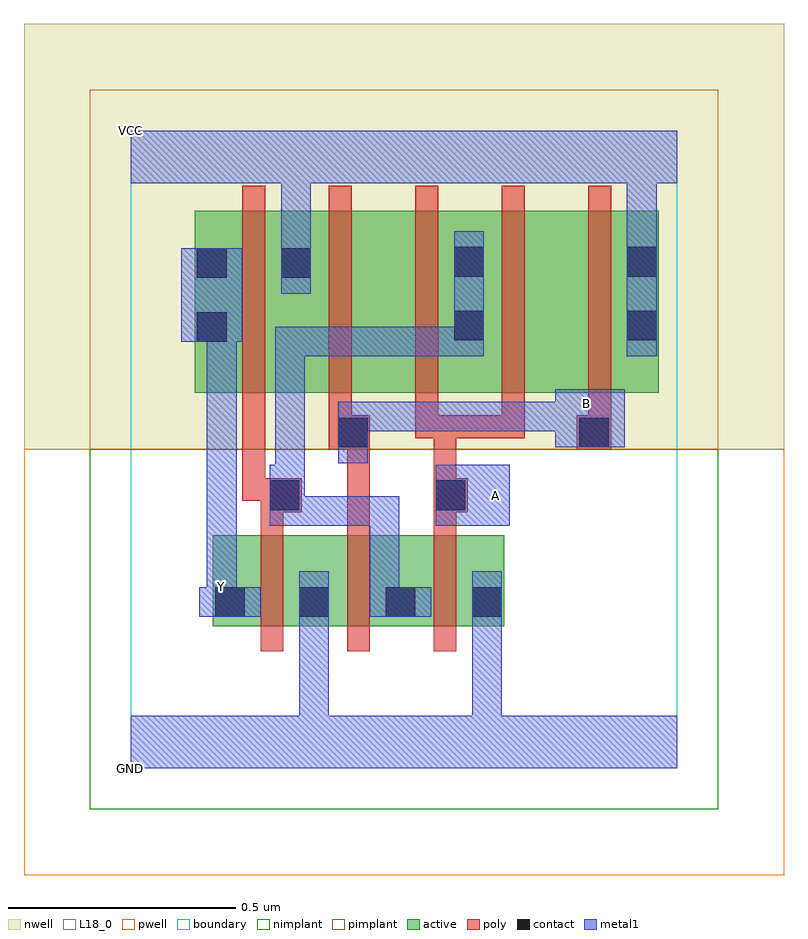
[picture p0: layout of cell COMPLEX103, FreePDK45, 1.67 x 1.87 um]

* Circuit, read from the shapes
.subckt COMPLEX103 A B GND VCC Y
M1 GND n1 Y VSUBS nfet w=0.2u l=0.05u
M2 n1 B GND VSUBS nfet w=0.2u l=0.05u
M3 GND A n1 VSUBS nfet w=0.2u l=0.05u
M4 VCC n1 Y n2 pfet w=0.4u l=0.05u
M5 n3 B VCC n2 pfet w=0.4u l=0.05u
M6 n1 A n3 n2 pfet w=0.4u l=0.05u
M7 n4 A n1 n2 pfet w=0.4u l=0.05u
M8 VCC B n4 n2 pfet w=0.4u l=0.05u
.ends

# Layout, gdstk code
import gdstk
lib = gdstk.Library(unit=1e-6, precision=1e-09)
def R(c, l, rs):  # rectangles x0, y0, x1, y1
    for r in rs: c.add(gdstk.rectangle(r[:2], r[2:], *l))
def A(c, l, x, y, w, h, nx, ny, dx, dy):  # array of equal rectangles
    R(c, l, [(x+i*dx, y+j*dy, x+i*dx+w, y+j*dy+h) for i in range(nx) for j in range(ny)])
active = (1, 0)
pwell = (2, 0)
nwell = (3, 0)
nimplant = (4, 0)
pimplant = (5, 0)
poly = (9, 0)
contact = (10, 0)
metal1 = (11, 0)
L18_0 = (18, 0)
boundary = (235, 0)

complex103 = lib.new_cell('COMPLEX103')
R(complex103, active, [(0.18,0.312,0.255,0.512), (0.18,0.312,0.44,0.512), (0.365,0.312,0.44,0.512), (0.365,0.312,0.63,0.512), (0.555,0.312,0.82,0.512), (0.555,0.312,0.63,0.402), (0.745,0.312,0.82,0.512), (0.14,0.825,0.215,1.155), (0.14,0.825,0.4,1.225), (0.325,0.825,0.555,1.225), (0.555,0.825,0.78,1.225), (0.705,0.825,0.78,1.155), (0.705,0.825,0.935,1.225), (0.935,0.825,1.16,1.225), (1.085,0.825,1.16,1.155), (0.325,0.907,0.4,1.155)])
R(complex103, pwell, [(-0.235,-0.235,1.435,0.7)])
R(complex103, nwell, [(-0.235,0.7,1.435,1.635)])
R(complex103, nimplant, [(-0.09,-0.09,1.29,0.7)])
R(complex103, pimplant, [(-0.09,0.7,1.29,1.49)])
A(complex103, poly, 0.285, 0.257, 0.05, 0.31, 3, 1, 0.19, 0)
A(complex103, poly, 0.435, 0.725, 0.05, 0.095, 4, 1, 0.19, 0)
A(complex103, poly, 0.245, 0.77, 0.05, 0.51, 5, 1, 0.19, 0)
R(complex103, poly, [(0.285,0.517,0.335,0.612), (0.475,0.517,0.525,0.75), (0.665,0.517,0.715,0.612), (0.285,0.562,0.375,0.637), (0.665,0.562,0.74,0.637), (0.245,0.587,0.335,0.637), (0.245,0.587,0.295,0.82), (0.285,0.587,0.335,0.637), (0.665,0.587,0.715,0.775), (0.435,0.7,0.525,0.775), (0.475,0.7,0.525,0.75), (0.475,0.7,0.525,0.75), (0.98,0.7,1.055,0.775), (0.625,0.725,0.715,0.775), (0.665,0.725,0.865,0.775), (0.815,0.725,0.865,0.775), (0.815,0.725,0.865,0.775), (0.815,0.725,0.865,0.775)])
A(complex103, contact, 0.37, 0.332, 0.065, 0.065, 3, 1, 0.19, 0)
R(complex103, contact, [(0.185,0.332,0.25,0.397), (0.305,0.567,0.37,0.632), (0.67,0.567,0.735,0.632), (0.455,0.705,0.52,0.77), (0.985,0.705,1.05,0.77), (0.145,0.937,0.21,1.002), (0.71,0.94,0.775,1.005), (1.09,0.94,1.155,1.005), (0.145,1.077,0.21,1.142), (0.33,1.077,0.395,1.142), (0.71,1.08,0.775,1.145), (1.09,1.08,1.155,1.145)])
R(complex103, metal1, [(0,0,1.2,0.115), (0.37,0.05,0.435,0.362), (0.75,0.05,0.815,0.115), (0.75,0.05,0.815,0.115), (0.75,0.05,0.815,0.115), (0.75,0.05,0.815,0.115), (0.75,0.05,0.815,0.362), (0.37,0.297,0.435,0.362), (0.37,0.297,0.435,0.362), (0.37,0.297,0.435,0.362), (0.37,0.297,0.435,0.362), (0.37,0.297,0.435,0.432), (0.75,0.297,0.815,0.432), (0.15,0.332,0.285,0.397), (0.167,0.332,0.232,0.397), (0.167,0.332,0.232,0.467), (0.525,0.332,0.59,0.597), (0.525,0.332,0.66,0.397), (0.167,0.402,0.232,0.467), (0.167,0.402,0.232,0.467), (0.167,0.402,0.232,1.002), (0.305,0.532,0.37,0.667), (0.305,0.532,0.382,0.597), (0.317,0.532,0.382,0.597), (0.317,0.532,0.382,0.597), (0.317,0.532,0.382,0.597), (0.317,0.532,0.585,0.597), (0.317,0.532,0.382,0.97), (0.52,0.532,0.585,0.597), (0.52,0.532,0.59,0.597), (0.525,0.532,0.59,0.597), (0.67,0.532,0.832,0.667), (0.455,0.67,0.52,0.805), (0.932,0.705,1.085,0.832), (0.455,0.74,0.52,0.805), (0.455,0.74,0.52,0.805), (0.455,0.74,0.722,0.805), (0.657,0.74,0.722,0.805), (0.657,0.74,0.727,0.805), (0.662,0.74,0.727,0.805), (0.662,0.74,0.86,0.805), (0.795,0.74,0.86,0.805), (0.795,0.74,0.997,0.805), (0.932,0.74,0.997,0.805), (0.932,0.74,0.997,0.805), (0.317,0.905,0.382,0.97), (0.317,0.905,0.52,0.97), (0.455,0.905,0.52,0.97), (0.455,0.905,0.52,0.97), (0.455,0.905,0.52,0.97), (0.455,0.905,0.722,0.97), (0.657,0.905,0.722,0.97), (0.657,0.905,0.775,0.97), (0.71,0.905,0.775,1.18), (1.09,0.905,1.155,1.18), (0.11,0.937,0.245,1.142), (0.33,1.042,0.395,1.177), (0.33,1.112,0.395,1.35), (1.09,1.115,1.155,1.35), (0,1.285,1.2,1.4)])
A(complex103, L18_0, 0.167, 0.332, 0.065, 0.065, 1, 3, 0, 0.035)
R(complex103, L18_0, [(0,0,1.2,0.115), (0.37,0.05,0.435,0.362), (0.75,0.05,0.815,0.115), (0.75,0.05,0.815,0.115), (0.75,0.05,0.815,0.115), (0.75,0.05,0.815,0.115), (0.75,0.05,0.815,0.362), (0.37,0.297,0.435,0.432), (0.37,0.297,0.435,0.362), (0.37,0.297,0.435,0.362), (0.37,0.297,0.435,0.362), (0.37,0.297,0.435,0.362), (0.75,0.297,0.815,0.432), (0.15,0.332,0.285,0.397), (0.167,0.332,0.232,0.467), (0.167,0.402,0.232,0.467), (0.167,0.402,0.232,1.002), (0.67,0.532,0.832,0.667), (0.767,0.567,0.832,0.632), (0.455,0.67,0.52,0.805), (0.932,0.705,1.085,0.832), (0.455,0.74,0.52,0.805), (0.455,0.74,0.52,0.805), (0.455,0.74,0.722,0.805), (0.657,0.74,0.722,0.805), (0.657,0.74,0.727,0.805), (0.662,0.74,0.727,0.805), (0.662,0.74,0.86,0.805), (0.795,0.74,0.86,0.805), (0.795,0.74,0.997,0.805), (0.932,0.74,0.997,0.805), (0.932,0.74,0.997,0.805), (0.967,0.767,1.032,0.832), (1.09,0.905,1.155,1.18), (0.11,0.937,0.245,1.142), (0.33,1.042,0.395,1.177), (0.33,1.112,0.395,1.35), (1.09,1.115,1.155,1.35), (0,1.285,1.2,1.4)])
R(complex103, boundary, [(0,0,1.2,1.4)])
complex103.add(gdstk.Label('A', (0.8,0.6), layer=11, texttype=0))
complex103.add(gdstk.Label('B', (1,0.8), layer=11, texttype=0))
complex103.add(gdstk.Label('Y', (0.2,0.4), layer=11, texttype=0))
complex103.add(gdstk.Label('VCC', (0,1.4), layer=11, texttype=0))
complex103.add(gdstk.Label('GND', (0,0), layer=11, texttype=0))

lib.write_gds('COMPLEX103.gds')
